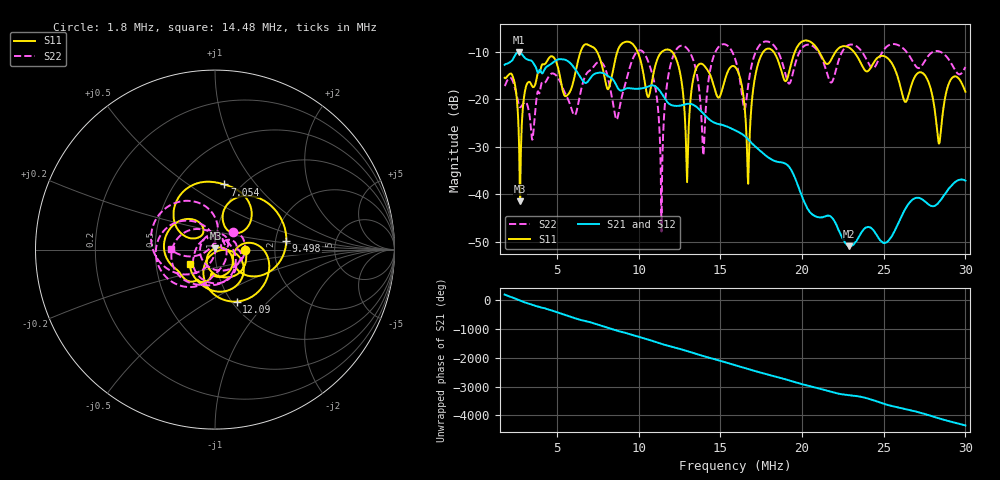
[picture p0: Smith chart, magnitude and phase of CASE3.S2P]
!Agilent Technologies,E5061B,MY49101568,A.02.00
!Date: Wed Mar 01 13:50:33 2023
!Data & Calibration Information:
!Freq	S11:SOLT2(OFF)	S21:SOLT2(OFF)	S12:SOLT2(OFF)	S22:SOLT2(OFF)
# Hz S dB R 50
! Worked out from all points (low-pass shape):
!   1155 points, 1.8 MHz to 30 MHz, reference 50 ohm
!   highest |S21| = -9.96 dB at 2.68 MHz (marker M1); lowest = -50.9 dB at 22.89 MHz (marker M2)
!   |S21| within 3 dB of the highest: start of sweep to 3.679 MHz; 4.428 MHz to 5.981 MHz (1.554 MHz wide, 29.9 % of centre)
!   lowest |S11| = -41.5 dB at 2.753 MHz (marker M3), VSWR 1.02, Z = 50.2 + j0.82 ohm
!   |S11| at or under -10 dB: start of sweep to 6.444 MHz; 12.07 MHz to 17.62 MHz (5.555 MHz wide, 37.4 % of centre); 23.19 MHz to end of sweep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
!   |S22| runs from -47.9 to -7.7 dB; largest |S21 - S12| = 0.0041
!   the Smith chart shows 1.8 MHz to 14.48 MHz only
!   S11 on the Smith chart (normalised r, x): 1.8 MHz: 1.41, -0.00; 7.054 MHz: 0.84, +0.70; 9.498 MHz: 2.30, +0.26; 12.09 MHz: 1.05, -0.67; 14.48 MHz: 0.74, -0.12
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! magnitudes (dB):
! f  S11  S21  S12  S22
! 1.8 MHz  -15.4  -12.7  -12.7  -17.2
! 2.68 MHz  -29.0  -10.0  -10.0  -21.2
! 2.753 MHz  -41.5  -10.1  -10.0  -21.6
! 3.193 MHz  -16.6  -11.6  -11.6  -21.2
! 6.516 MHz  -9.4  -15.7  -15.6  -17.5
! 7.054 MHz  -8.7  -15.4  -15.3  -13.8
! 8.667 MHz  -10.3  -17.2  -17.1  -24.2
! 9.498 MHz  -8.0  -17.6  -17.6  -12.8
! 11.21 MHz  -11.0  -17.8  -17.8  -22.7
! 11.43 MHz  -9.9  -18.8  -18.8  -37.9
! 12.09 MHz  -10.1  -21.3  -21.3  -11.1
! 12.97 MHz  -37.4  -20.9  -21.0  -9.2
! 13.97 MHz  -12.7  -23.0  -23.0  -31.8
! 14.48 MHz  -15.7  -24.6  -24.6  -12.2
! 15.9 MHz  -13.1  -26.5  -26.6  -11.4
! 16.71 MHz  -37.8  -28.4  -28.4  -17.0
! 17.56 MHz  -10.3  -31.2  -31.3  -8.0
! 20.62 MHz  -8.1  -44.2  -44.2  -8.6
! 22.89 MHz  -9.1  -50.9  -50.8  -8.5
! 25.31 MHz  -11.5  -49.8  -49.7  -8.6
! 28.39 MHz  -29.3  -41.6  -41.6  -9.8
! 30 MHz  -18.4  -37.1  -37.1  -13.2
